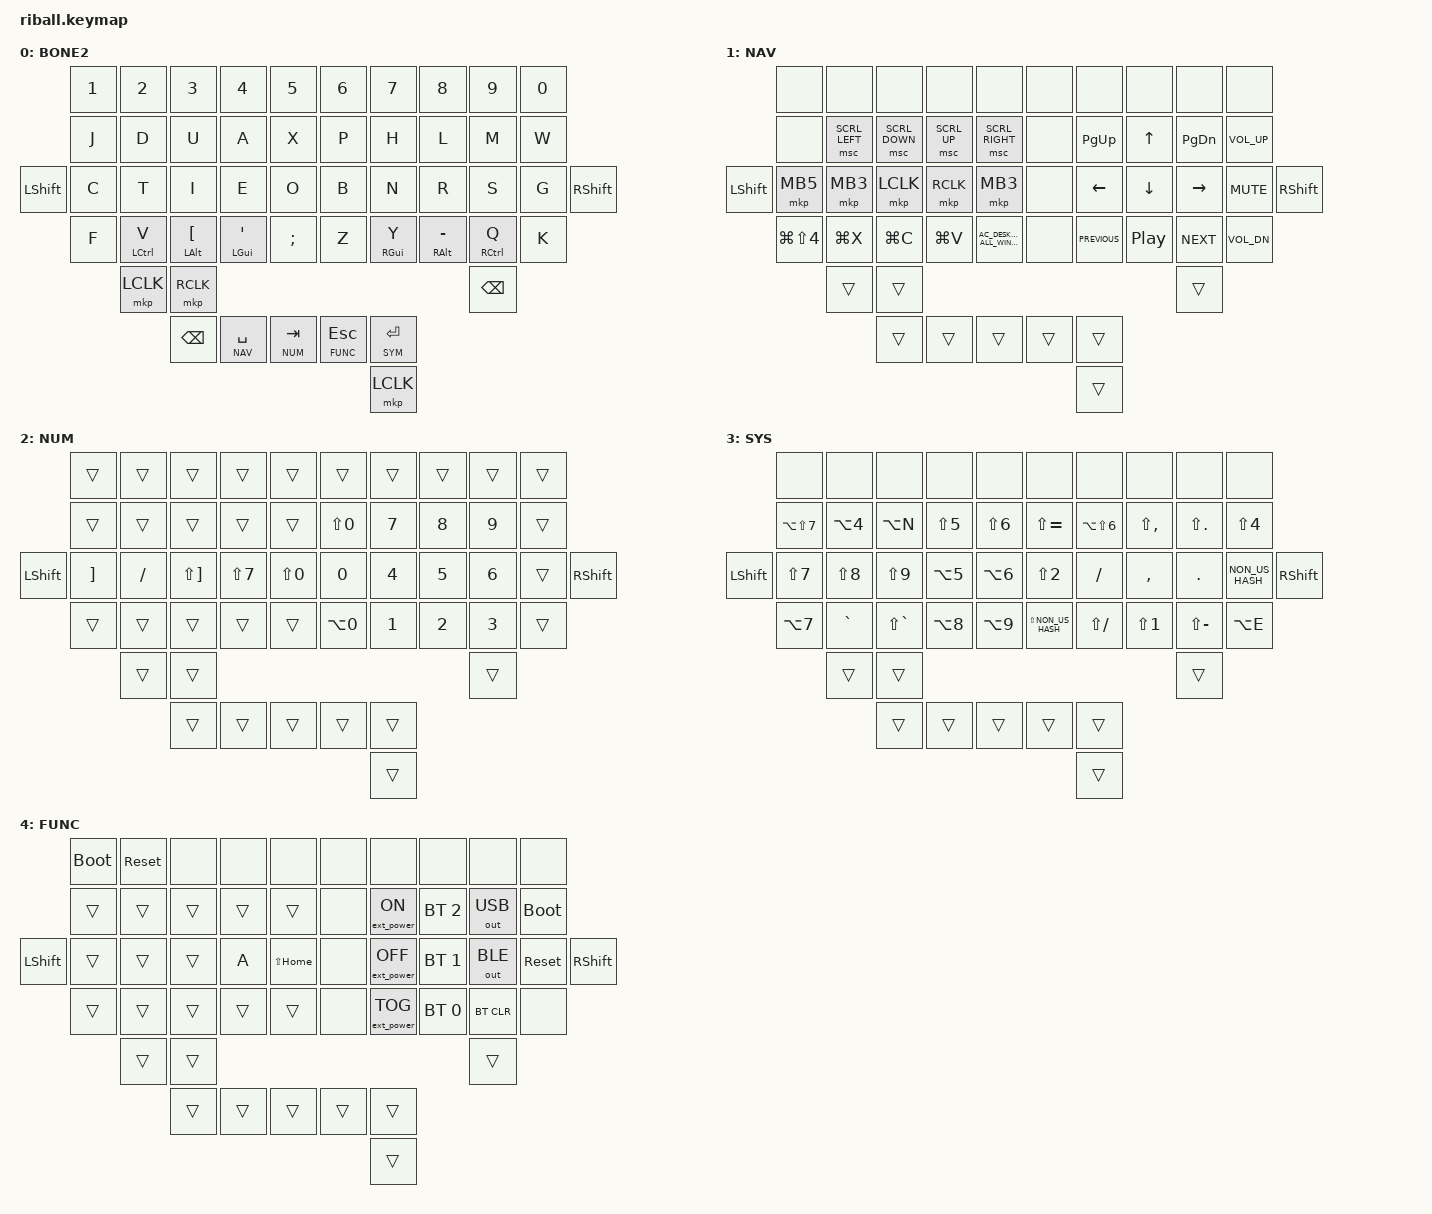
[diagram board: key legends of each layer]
#include <behaviors.dtsi>
#include <dt-bindings/zmk/bt.h>
#include <dt-bindings/zmk/keys.h>
#include <dt-bindings/zmk/outputs.h> 
#include <dt-bindings/zmk/ext_power.h>
#include <dt-bindings/zmk/pointing.h>
#include <dt-bindings/zmk/input_transform.h>


#define ZMK_MOUSE_DEFAULT_SCRL_VAL 20    // 10
#include <dt-bindings/zmk/mouse.h>
#include <input/processors.dtsi>


#define DEFAULT 0
#define NAV     1
#define NUM     2
#define SYM     3
#define FUNC    4


&caps_word { continue-list = <UNDERSCORE MINUS>; };
&mmv {
    acceleration-exponent = <1>;      // 1
    time-to-max-speed-ms = <500>;     // 300
    delay-ms = <0>;                   // 0
};
&msc {
    acceleration-exponent = <1>;      // 0
    time-to-max-speed-ms = <50>;      // 300
    delay-ms = <0>;                   // 0
};


/ {
    combos {
        compatible = "zmk,combos";

        delete {
            timeout-ms = <50>;
            key-positions = <21 22>;
            bindings = <&kp DEL>;
        };
        backsspace {
            timeout-ms = <50>;
            key-positions = <27 28>;
            bindings = <&kp BACKSPACE>;
        };
        escape{
            timeout-ms = <50>;
            key-positions = <11 12>;
            bindings = <&kp ESCAPE>;
        };
        enter{
            timeout-ms= <50>;
            key-positions = <22 23>;
            bindings = <&kp ENTER>;
        };
    };
};

/ {
    behaviors {
        hm: homerow_mods {
            compatible = "zmk,behavior-hold-tap";
            #binding-cells = <2>;
            tapping-term-ms = <200>;
            flavor = "tap-preferred";
            bindings = <&kp>, <&kp>;
        };

        hs: homerow_shift {
            compatible = "zmk,behavior-hold-tap";
            #binding-cells = <2>;
            tapping-term-ms = <175>;
            flavor = "balanced";
            bindings = <&kp>, <&kp>;
        };   
    };

    keymap {
        compatible = "zmk,keymap";

        default_layer {
            display-name = "BONE2";
            bindings = <
            &kp N1          &kp N2       &kp N3         &kp N4          &kp N5              &kp N6          &kp N7          &kp N8          &kp N9          &kp N0
            &kp J           &kp D        &kp U          &kp A           &kp X               &kp P           &kp H           &kp L           &kp M           &kp W
 &kp LSHIFT &kp C           &kp T        &kp I          &kp E           &kp O               &kp B           &kp N           &kp R           &kp S           &kp G           &kp RSHIFT
            &kp F           &hm LCTL V   &hm LALT LBKT  &hm LGUI SQT    &kp SEMI            &kp Z           &hm RGUI Y      &hm RALT MINUS  &hm RCTL Q      &kp K
                            &mkp LCLK    &mkp RCLK                                                                                          &kp BACKSPACE                                           
                                         &kp BACKSPACE  &lt NAV SPACE   &lt NUM TAB         &lt FUNC ESCAPE &lt SYM ENTER   
                                                                                                                &mkp LCLK

            >;
        };
        nav_layer {
    display-name = "NAV";
    bindings = <
            &none          &none          &none          &none          &none               &none           &none           &none           &none           &none
            &none          &msc SCRL_LEFT &msc SCRL_DOWN &msc SCRL_UP   &msc SCRL_RIGHT     &none           &kp PAGE_UP     &kp UP_ARROW    &kp PAGE_DOWN   &kp C_VOLUME_UP
&kp LSHIFT  &mkp MB5       &mkp MB3       &mkp LCLK      &mkp RCLK      &mkp MB3            &none           &kp LEFT_ARROW  &kp DOWN_ARROW  &kp RIGHT       &kp C_MUTE      &kp RSHIFT
            &kp LG(LS(N4)) &kp LG(X)      &kp LG(C)      &kp LG(V)      &kp C_AC_DESKTOP_SHOW_ALL_WINDOWS &none &kp C_PREVIOUS &kp C_PLAY_PAUSE &kp C_NEXT  &kp C_VOL_DN
                           &trans         &trans                                                                                            &trans         
                                          &trans         &trans         &trans              &trans          &trans
                                                                                                       &trans
    >;
};
        num_layer {
            display-name = "NUM";
            bindings = <
            &trans         &trans       &trans           &trans         &trans              &trans          &trans          &trans          &trans      &trans 
            &trans         &trans       &trans           &trans         &trans              &kp LS(N0)      &kp N7          &kp N8          &kp N9      &trans
&kp LSHIFT  &kp RIGHT_BRACKET &kp SLASH &kp LS(RIGHT_BRACKET) &kp LS(N7) &kp LS(N0)         &kp N0          &kp N4          &kp N5          &kp N6      &trans          &kp RSHIFT
            &trans         &trans       &trans           &trans         &trans              &kp LA(N0)      &kp N1          &kp N2          &kp N3      &trans
                           &trans       &trans                                                                                              &trans              
                                        &trans           &trans         &trans              &trans          &trans
                                                                                                    &trans
            >;
        };
        sym_layer {
            display-name = "SYS";
            bindings = <
            &none           &none       &none           &none           &none               &none           &none           &none           &none          &none
            &kp LA(LS(N7))  &kp LA(NUMBER_4)  &kp LA(N) &kp LS(N5)      &kp LS(NUMBER_6)    &kp LS(EQUAL)   &kp LA(LS(N6))  &kp LS(COMMA)   &kp LS(DOT)    &kp LS(N4)
&kp LSHIFT  &kp LS(N7)      &kp LS(N8)  &kp LS(N9)      &kp LA(N5)      &kp LA(NUMBER_6)    &kp LS(NUMBER_2) &kp SLASH      &kp COMMA       &kp DOT        &kp NON_US_HASH &kp RSHIFT
            &kp LA(N7)      &kp GRAVE   &kp LS(GRAVE)   &kp LA(N8)      &kp LA(N9)          &kp LS(NON_US_HASH) &kp LS(SLASH) &kp LS(NUMBER_1) &kp LS(MINUS) &kp LA(E)
                            &trans      &trans                                                                                              &trans              
                                        &trans          &trans          &trans              &trans          &trans
                                                                                                    &trans
            >;
        };

        func_layer {
            display-name = "FUNC";
            bindings = <
            &bootloader     &sys_reset  &none           &none           &none               &none           &none               &none          &none        &none
            &trans          &trans      &trans          &trans          &trans              &none           &ext_power EP_ON    &bt BT_SEL 2   &out OUT_USB &bootloader
&kp LSHIFT  &trans          &trans      &trans          &kp A           &kp LS(HOME)        &none           &ext_power EP_OFF   &bt BT_SEL 1   &out OUT_BLE &sys_reset      &kp RSHIFT
            &trans          &trans      &trans          &trans          &trans              &none           &ext_power EP_TOG   &bt BT_SEL 0   &bt BT_CLR   &none
                            &trans      &trans                                                                                                 &trans              
                                        &trans          &trans          &trans              &trans          &trans
                                                                                                    &trans
            >;
        };

    };
    trackball_peripheral_listener {
        snipe {
            layers = <NAV>;
            input-processors = <&zip_xy_scaler 1 4>;
        };

        scroll {
            layers = <NUM>;
            input-processors = <&zip_xy_transform (INPUT_TRANSFORM_Y_INVERT)>,<&zip_xy_to_scroll_mapper>, <&zip_scroll_scaler 1 16>;
        };
    };
};
